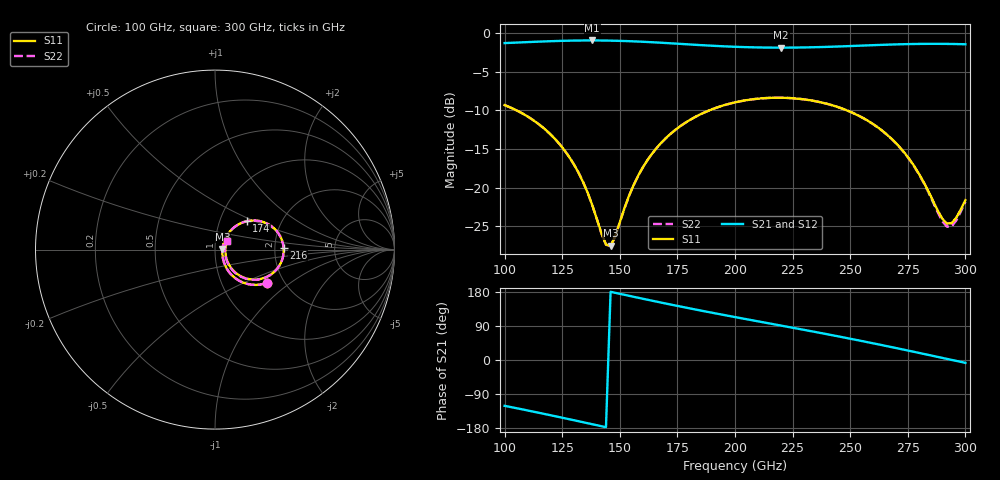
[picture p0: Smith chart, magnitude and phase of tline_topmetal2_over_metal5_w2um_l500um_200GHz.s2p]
#  GHZ S DB R 50
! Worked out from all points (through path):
!   101 points, 100 GHz to 300 GHz, reference 50 ohm
!   highest |S21| = -0.91 dB at 138 GHz (marker M1); lowest = -1.8 dB at 220 GHz (marker M2)
!   group delay of S21, straight-line fit = 3.37 ps
!   lowest |S11| = -27.6 dB at 146 GHz (marker M3), VSWR 1.09, Z = 54.4 + j0.397 ohm
!   |S11| at or under -10 dB: 105.3 GHz to 188.7 GHz (83.46 GHz wide, 56.8 % of centre); 248.7 GHz to end of sweep
!   |S22| runs from -27.6 to -8.3 dB; largest |S21 - S12| = 0
!   S11 on the Smith chart (normalised r, x): 100 GHz: 1.63, -0.69; 174 GHz: 1.34, +0.45; 216 GHz: 2.24, +0.06; 300 GHz: 1.14, +0.11
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100  -9.30 -32.7  -1.25 -121.0  -1.25 -121.0  -9.30 -32.8
110  -10.78 -42.7  -1.12 -133.2  -1.12 -133.2  -10.78 -42.8
120  -13.12 -52.0  -1.01 -145.8  -1.01 -145.8  -13.12 -52.0
128  -16.01 -57.3  -0.94 -156.2  -0.94 -156.2  -16.01 -57.4
134  -19.24 -57.6  -0.92 -164.1  -0.92 -164.1  -19.24 -57.7
138  -22.24 -52.5  -0.91 -169.4  -0.91 -169.4  -22.24 -52.6
144  -27.38 -17.2  -0.93 -177.4  -0.93 -177.4  -27.42 -17.4
146  -27.56 5.0  -0.94 180.0  -0.94 180.0  -27.61 5.0
158  -18.45 50.5  -1.05 164.2  -1.05 164.2  -18.46 50.6
168  -14.19 46.7  -1.21 151.4  -1.21 151.4  -14.19 46.7
174  -12.54 41.9  -1.32 144.0  -1.32 144.0  -12.54 41.9
186  -10.35 30.9  -1.53 129.5  -1.53 129.5  -10.35 30.9
200  -8.95 17.4  -1.73 113.3  -1.73 113.3  -8.95 17.3
216  -8.35 1.7  -1.84 95.3  -1.84 95.3  -8.35 1.6
220  -8.34 -2.2  -1.84 90.8  -1.84 90.8  -8.34 -2.3
234  -8.74 -15.8  -1.79 74.9  -1.79 74.9  -8.75 -16.0
252  -10.43 -33.0  -1.61 53.8  -1.61 53.8  -10.43 -33.2
268  -13.69 -45.9  -1.44 34.0  -1.44 34.0  -13.70 -46.4
278  -17.32 -48.8  -1.37 21.2  -1.37 21.2  -17.37 -49.6
292  -24.67 -7.9  -1.36 2.9  -1.36 2.9  -25.07 -8.4
296  -23.93 18.9  -1.38 -2.3  -1.38 -2.3  -24.28 19.9
300  -21.62 35.5  -1.41 -7.5  -1.41 -7.5  -21.84 36.9
